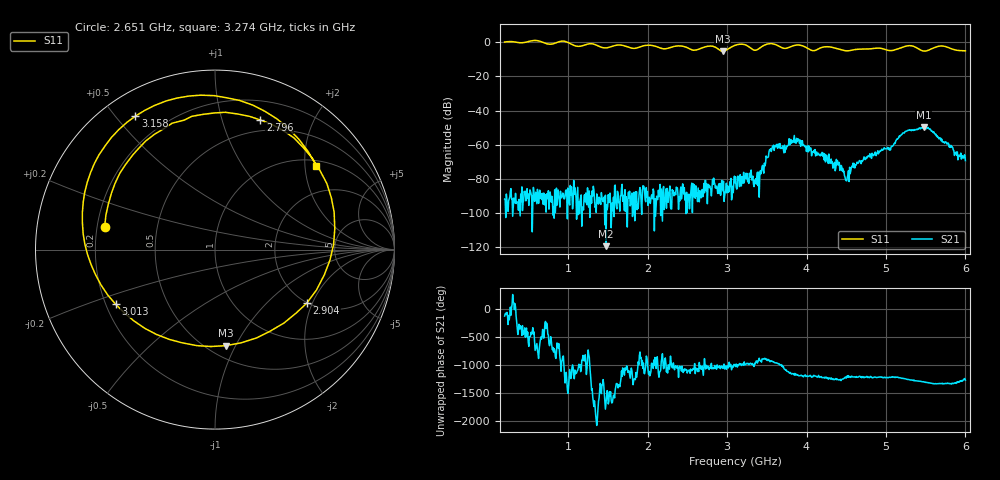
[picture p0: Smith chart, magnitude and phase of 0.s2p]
! NanoVNA-App by OneOfEleven et al v1.1.209 (+OD15)
! Date: 2024-07-30 15:14:00
! Start: 200MHz Stop: 6GHz Points: 801
! S-Parameter data: F S11 S21 S12 S22
# Hz S RI R 50
!  Frequency  S11_Real  S11_Imag  S21_Real  S21_Imag  S12_Real  S12_Imag  S22_Real  S22_Imag
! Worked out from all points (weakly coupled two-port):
!   801 points, 200 MHz to 6 GHz, reference 50 ohm
!   highest |S21| = -49.67 dB at 5.478 GHz (marker M1); lowest = -119.3 dB at 1.476 GHz (marker M2)
!   lowest |S11| = -5.4 dB at 2.948 GHz (marker M3), VSWR 3.33, Z = 30.4 - j45.8 ohm
!   |S11| at or under -10 dB: nowhere
!   S12 and S22 are empty: the file has one direction only
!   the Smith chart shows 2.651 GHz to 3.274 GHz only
!   S11 on the Smith chart (normalised r, x): 2.651 GHz: 0.23, +0.10; 2.796 GHz: 0.38, +1.34; 2.904 GHz: 1.98, -1.82; 3.013 GHz: 0.24, -0.24; 3.158 GHz: 0.09, +0.56; 3.274 GHz: 1.13, +2.29
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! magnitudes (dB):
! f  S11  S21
! 200 MHz  0.1  -91.7
! 1.171 GHz  -2.2  -107.6
! 1.476 GHz  -3.4  -119.3
! 2.136 GHz  -3.0  -86.6
! 2.651 GHz  -4.0  -93.3
! 2.796 GHz  -2.3  -86.1
! 2.904 GHz  -4.6  -88.5
! 2.948 GHz  -5.4  -87.0
! 3.013 GHz  -4.0  -87.9
! 3.1 GHz  -1.9  -82.2
! 3.158 GHz  -1.3  -84.4
! 3.274 GHz  -2.7  -82.6
! 3.383 GHz  -4.4  -76.0
! 3.6 GHz  -1.3  -60.9
! 3.869 GHz  -1.7  -59.1
! 4.072 GHz  -4.9  -64.0
! 4.405 GHz  -4.1  -71.8
! 4.506 GHz  -5.1  -81.1
! 5.036 GHz  -4.9  -61.7
! 5.239 GHz  -2.5  -52.4
! 5.478 GHz  -5.2  -49.7
! 6 GHz  -5.1  -69.3
